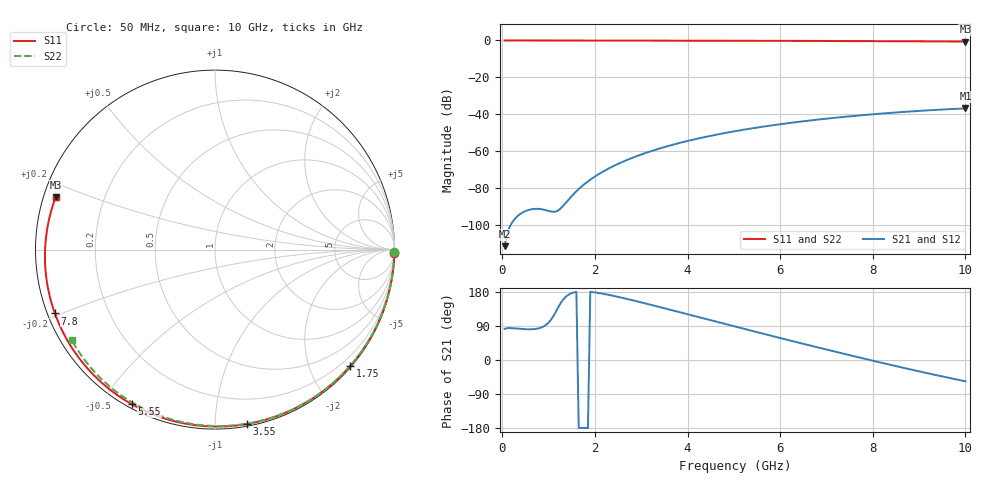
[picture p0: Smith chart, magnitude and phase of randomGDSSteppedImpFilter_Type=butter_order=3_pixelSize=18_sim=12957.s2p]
! freq	dB(S11)	phase(S11)	dB(S12)	phase(S12)
!  dB(S21)	phase(S21)	dB(S22)	phase(S22)
!S-par simulation data
#  GHz  S  DB  R 50
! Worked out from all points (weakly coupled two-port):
!   200 points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, 50 MHz to 10 GHz, reference 50 ohm
!   highest |S21| = -36.73 dB at 10 GHz (marker M1); lowest = -111.2 dB at 50 MHz (marker M2)
!   lowest |S11| = -0.6 dB at 10 GHz (marker M3), VSWR 29.46, Z = 1.74 + j8.04 ohm
!   |S11| at or under -10 dB: nowhere
!   |S22| runs from -0.5 to 0.0 dB; largest |S21 - S12| = 0
!   S11 on the Smith chart (normalised r, x): 50 MHz: 1, -98; 1.75 GHz: 0.02, -2.68; 3.55 GHz: 0.01, -1.20; 5.55 GHz: 0.01, -0.60; 7.8 GHz: 0.02, -0.19; 10 GHz: 0.03, +0.16
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0.05  -0.00 -1.2  -111.21 82.1  -111.21 82.1  -0.00 -0.8
0.45  -0.02 -10.7  -92.84 81.6  -92.84 81.6  -0.01 -7.6
0.8  -0.02 -18.9  -91.08 84.1  -91.08 84.1  -0.02 -13.6
1.2  -0.04 -28.3  -91.98 137.3  -91.98 137.3  -0.03 -20.3
1.65  -0.05 -38.6  -80.32 -179.5  -80.32 -179.5  -0.04 -27.8
1.75  -0.05 -40.9  -78.15 -179.0  -78.15 -179.0  -0.04 -29.4
2.05  -0.06 -47.6  -72.76 177.4  -72.76 177.4  -0.04 -34.4
2.25  -0.07 -52.1  -69.85 173.1  -69.85 173.1  -0.05 -37.6
2.45  -0.07 -56.4  -67.31 168.0  -67.31 168.0  -0.05 -40.9
2.9  -0.09 -66.1  -62.56 155.1  -62.56 155.1  -0.06 -48.1
3.4  -0.10 -76.6  -58.37 139.7  -58.37 139.7  -0.07 -55.9
3.55  -0.11 -79.7  -57.27 135.0  -57.27 135.0  -0.08 -58.2
4.3  -0.13 -94.6  -52.61 111.3  -52.61 111.3  -0.10 -69.7
5.05  -0.17 -109.0  -48.95 87.6  -48.95 87.6  -0.12 -80.7
5.55  -0.19 -118.2  -46.91 71.9  -46.91 71.9  -0.14 -87.9
6.15  -0.23 -129.1  -44.79 53.4  -44.79 53.4  -0.17 -96.3
6.7  -0.26 -138.9  -43.10 36.6  -43.10 36.6  -0.20 -103.9
7.25  -0.31 -148.6  -41.63 20.1  -41.63 20.1  -0.24 -111.3
7.8  -0.35 -158.3  -40.33 3.9  -40.33 3.9  -0.28 -118.6
8.35  -0.41 -168.0  -39.21 -11.9  -39.21 -11.9  -0.32 -125.8
9.2  -0.50 176.7  -37.77 -35.4  -37.77 -35.4  -0.41 -137.0
10  -0.59 161.7  -36.73 -56.1  -36.73 -56.1  -0.50 -147.7
